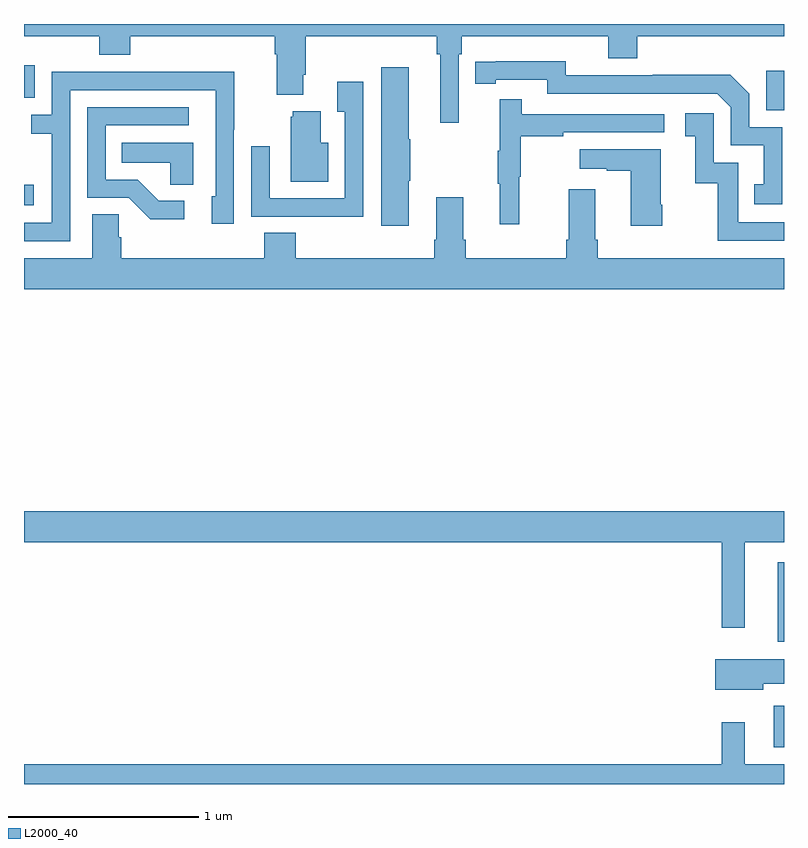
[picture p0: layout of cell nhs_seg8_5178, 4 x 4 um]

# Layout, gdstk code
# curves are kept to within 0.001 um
import gdstk
lib = gdstk.Library(unit=1e-6, precision=1e-09)
def R(c, l, rs):  # rectangles x0, y0, x1, y1
    for r in rs: c.add(gdstk.rectangle(r[:2], r[2:], *l))
def P(c, l, *ps):  # polygons
    for p in ps: c.add(gdstk.Polygon(p, *l))
L2000_40 = (2000, 40)

nhs_seg8_5178 = lib.new_cell('nhs_seg8_5178')
R(nhs_seg8_5178, L2000_40, [(426.947,1110.093,427,1110.313), (426.968,1110.65,427,1111.066), (423,1112.945,423.052,1113.055), (426.906,1113.447,427,1113.655), (423,1113.513,423.057,1113.682)])
P(nhs_seg8_5178, L2000_40, [(423,1113.836),(423.395,1113.836),(423.395,1113.737),(423.56,1113.737),(423.56,1113.836),(424.319,1113.836),(424.319,1113.74),(424.331,1113.74),(424.331,1113.527),(424.471,1113.527),(424.471,1113.634),(424.484,1113.634),(424.484,1113.836),(425.173,1113.836),(425.173,1113.74),(425.192,1113.74),(425.192,1113.381),(425.289,1113.381),(425.289,1113.74),(425.303,1113.74),(425.303,1113.836),(426.074,1113.836),(426.074,1113.719),(426.227,1113.719),(426.227,1113.836),(427,1113.836),(427,1113.9),(423,1113.9)],
  [(426.99,1113.357),(426.816,1113.357),(426.816,1113.534),(426.718,1113.632),(426.31,1113.632),(426.31,1113.63),(425.85,1113.63),(425.85,1113.703),(425.374,1113.702),(425.374,1113.586),(425.482,1113.586),(425.482,1113.606),(425.754,1113.606),(425.754,1113.534),(426.648,1113.534),(426.72,1113.462),(426.72,1113.261),(426.893,1113.261),(426.893,1113.057),(426.844,1113.057),(426.844,1112.952),(426.99,1112.952)],
  [(425.026,1113.076),(425.034,1113.076),(425.034,1113.293),(425.026,1113.293),(425.026,1113.673),(424.88,1113.673),(424.88,1112.838),(425.026,1112.838)],
  [(423.243,1113.552),(424.008,1113.552),(424.008,1112.994),(423.989,1112.994),(423.989,1112.85),(424.104,1112.85),(424.104,1113.343),(424.107,1113.343),(424.107,1113.65),(423.643,1113.65),(423.643,1113.648),(423.147,1113.648),(423.147,1113.423),(423.037,1113.423),(423.037,1113.322),(423.147,1113.322),(423.147,1112.853),(423,1112.853),(423,1112.757),(423.243,1112.757)],
  [(424.785,1113.595),(424.649,1113.595),(424.649,1113.439),(424.689,1113.439),(424.689,1112.982),(424.293,1112.982),(424.293,1113.256),(424.197,1113.256),(424.197,1112.886),(424.513,1112.886),(424.513,1112.885),(424.785,1112.885)],
  [(425.606,1113.096),(425.614,1113.096),(425.614,1113.31),(425.837,1113.31),(425.837,1113.33),(426.37,1113.33),(426.37,1113.426),(425.621,1113.426),(425.621,1113.505),(425.504,1113.505),(425.504,1113.233),(425.493,1113.233),(425.493,1113.059),(425.504,1113.059),(425.504,1112.847),(425.606,1112.847)],
  [(423.844,1112.97),(423.709,1112.97),(423.598,1113.081),(423.429,1113.081),(423.429,1113.366),(423.868,1113.366),(423.868,1113.462),(423.333,1113.462),(423.333,1112.985),(423.552,1112.985),(423.665,1112.873),(423.844,1112.873)],
  [(424.6,1113.274),(424.561,1113.274),(424.561,1113.442),(424.415,1113.442),(424.415,1113.411),(424.403,1113.411),(424.403,1113.071),(424.6,1113.071)],
  [(427,1112.856),(426.759,1112.856),(426.759,1113.171),(426.63,1113.171),(426.63,1113.43),(426.48,1113.43),(426.48,1113.309),(426.533,1113.309),(426.533,1113.063),(426.651,1113.063),(426.651,1112.76),(427,1112.76)],
  [(423.892,1113.274),(423.514,1113.274),(423.514,1113.17),(423.771,1113.17),(423.771,1113.055),(423.892,1113.055)],
  [(426.36,1112.95),(426.352,1112.95),(426.352,1113.241),(425.925,1113.241),(425.925,1113.137),(426.068,1113.137),(426.068,1113.127),(426.194,1113.127),(426.194,1112.838),(426.36,1112.838)],
  [(427,1112.668),(426.02,1112.668),(426.02,1112.764),(426.007,1112.764),(426.007,1113.031),(425.867,1113.031),(425.867,1112.764),(425.855,1112.764),(425.855,1112.668),(425.324,1112.668),(425.324,1112.764),(425.311,1112.764),(425.311,1112.989),(425.171,1112.989),(425.171,1112.764),(425.159,1112.764),(425.159,1112.668),(424.43,1112.668),(424.43,1112.801),(424.265,1112.801),(424.265,1112.668),(423.512,1112.668),(423.512,1112.777),(423.498,1112.777),(423.498,1112.9),(423.359,1112.9),(423.359,1112.668),(423,1112.668),(423,1112.504),(427,1112.504)],
  [(426.793,1111.172),(427,1111.172),(427,1111.336),(423,1111.336),(423,1111.172),(426.672,1111.172),(426.672,1110.723),(426.793,1110.723)],
  [(426.892,1110.427),(427,1110.427),(427,1110.556),(426.638,1110.556),(426.638,1110.395),(426.892,1110.395)],
  [(423,1109.9),(427,1109.9),(427,1110.004),(426.793,1110.004),(426.793,1110.226),(426.672,1110.226),(426.672,1110.004),(423,1110.004)])

lib.write_gds('nhs_seg8_5178.gds')
